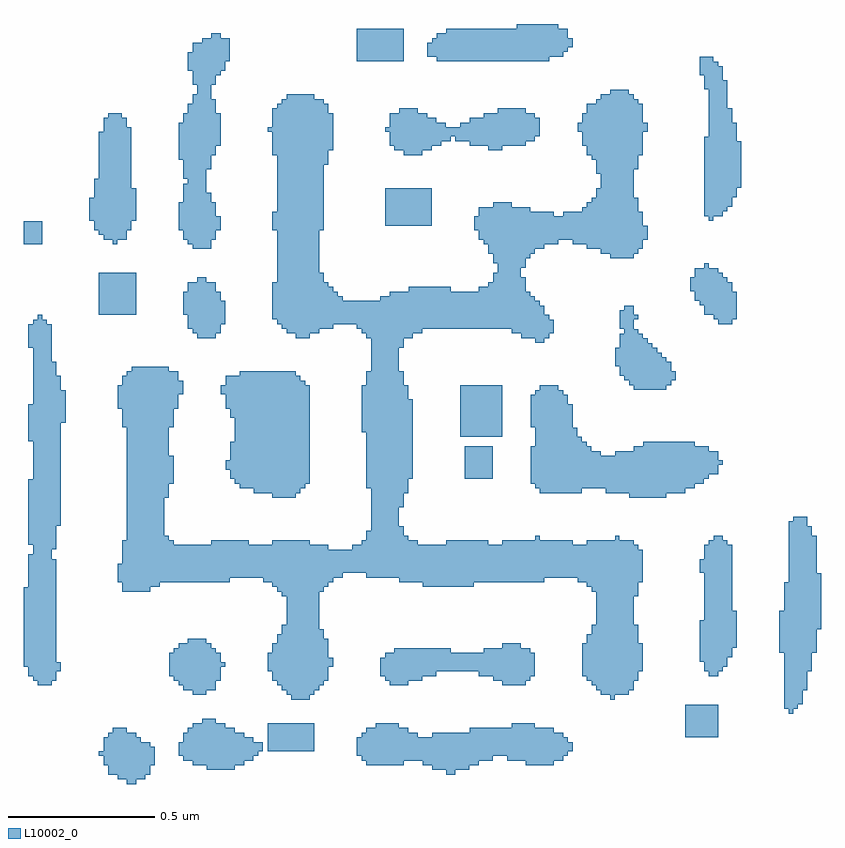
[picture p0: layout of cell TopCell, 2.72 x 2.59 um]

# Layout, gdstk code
import gdstk
lib = gdstk.Library(unit=1e-6, precision=1e-09)
def R(c, l, rs):  # rectangles x0, y0, x1, y1
    for r in rs: c.add(gdstk.rectangle(r[:2], r[2:], *l))
L10002_0 = (10002, 0)

topcell = lib.new_cell('TopCell')
R(topcell, L10002_0, [(1.088,0.736,1.119,0.752), (1.056,0.752,1.151,0.768), (1.024,0.768,1.167,0.8), (2.176,0.768,2.207,0.784), (1.36,0.784,1.455,0.8), (2.128,0.784,2.255,0.8), (1.008,0.8,1.183,0.832), (1.312,0.8,1.487,0.816), (1.904,0.8,2.031,0.816), (2.096,0.8,2.287,0.816), (2.448,0.8,2.543,0.816), (1.28,0.816,1.519,0.832), (1.888,0.816,2.335,0.832), (2.384,0.816,2.575,0.832), (0.992,0.832,1.183,0.847), (1.264,0.832,1.535,0.879), (1.872,0.832,2.591,0.895), (1.008,0.847,1.183,0.863), (1.535,0.848,1.551,0.879), (1.568,0.848,1.727,0.943), (2.591,0.848,2.607,0.879), (1.008,0.863,1.167,0.879), (1.008,0.879,1.135,0.895), (1.28,0.879,1.519,0.895), (1.024,0.895,1.119,0.911), (1.28,0.895,1.487,0.911), (1.888,0.895,2.079,0.911), (2.128,0.895,2.575,0.911), (2.992,0.896,3.103,1.007), (1.04,0.911,1.087,0.927), (1.296,0.911,1.455,0.927), (1.904,0.911,2.047,0.927), (2.256,0.911,2.543,0.927), (1.312,0.927,1.423,0.943), (1.936,0.927,2.015,0.943), (2.4,0.927,2.479,0.943), (1.344,0.943,1.391,0.959), (3.344,0.976,3.359,0.992), (3.328,0.992,3.375,1.184), (3.375,1.008,3.391,1.184), (1.648,1.024,1.711,1.04), (2.736,1.024,2.751,1.04), (1.312,1.04,1.359,1.056), (1.632,1.04,1.727,1.056), (2.704,1.04,2.799,1.056), (1.28,1.056,1.391,1.072), (1.616,1.056,1.743,1.072), (2.688,1.056,2.815,1.072), (3.391,1.056,3.407,1.184), (0.784,1.072,0.831,1.088), (1.264,1.072,1.391,1.088), (1.6,1.072,1.759,1.088), (1.984,1.072,2.047,1.088), (2.368,1.072,2.447,1.088), (2.672,1.072,2.815,1.088), (0.768,1.088,0.847,1.104), (1.248,1.088,1.407,1.104), (1.584,1.088,1.775,1.12), (1.968,1.088,2.095,1.104), (2.336,1.088,2.463,1.104), (2.656,1.088,2.831,1.104), (0.752,1.104,0.847,1.136), (1.232,1.104,1.407,1.183), (1.952,1.104,2.143,1.167), (2.288,1.104,2.479,1.12), (2.64,1.104,2.831,1.215), (3.072,1.104,3.103,1.12), (0.847,1.12,0.863,1.136), (1.568,1.12,1.775,1.183), (2.143,1.12,2.479,1.167), (2.831,1.12,2.847,1.215), (3.056,1.12,3.119,1.152), (3.407,1.12,3.423,1.184), (0.736,1.136,0.863,1.151), (1.407,1.136,1.423,1.151), (1.775,1.136,1.791,1.167), (3.119,1.136,3.135,1.152), (0.736,1.151,0.847,1.407), (3.04,1.152,3.135,1.295), (1.968,1.167,2.479,1.183), (3.135,1.168,3.151,1.295), (1.248,1.183,1.391,1.199), (1.584,1.183,1.775,1.215), (2,1.183,2.191,1.199), (2.304,1.183,2.463,1.199), (3.312,1.184,3.439,1.327), (1.264,1.199,1.375,1.215), (2.368,1.199,2.431,1.215), (3.151,1.2,3.167,1.295), (1.296,1.215,1.359,1.231), (1.6,1.215,1.775,1.231), (2.656,1.215,2.831,1.247), (1.6,1.231,1.759,1.247), (1.616,1.247,1.759,1.263), (2.672,1.247,2.831,1.279), (1.616,1.263,1.743,1.279), (3.439,1.264,3.455,1.327), (1.632,1.279,1.743,1.376), (2.688,1.279,2.815,1.392), (3.056,1.295,3.167,1.327), (3.056,1.327,3.151,1.456), (3.328,1.327,3.455,1.423), (1.616,1.376,1.743,1.392), (2.815,1.376,2.831,1.392), (1.072,1.392,1.167,1.424), (1.6,1.392,1.759,1.408), (2.672,1.392,2.831,1.408), (0.752,1.407,0.847,1.503), (1.167,1.408,1.199,1.424), (1.584,1.408,1.775,1.424), (2.096,1.408,2.271,1.424), (2.656,1.408,2.831,1.424), (3.344,1.423,3.455,1.455), (1.056,1.424,1.439,1.487), (1.552,1.424,1.791,1.44), (2.016,1.424,2.511,1.44), (2.624,1.424,2.847,1.44), (1.439,1.44,1.823,1.487), (1.904,1.44,2.847,1.456), (3.344,1.455,3.439,1.583), (1.823,1.456,2.847,1.487), (3.04,1.456,3.151,1.503), (1.072,1.487,2.847,1.535), (0.752,1.503,0.831,1.519), (3.056,1.503,3.151,1.551), (0.768,1.519,0.831,1.552), (1.072,1.535,1.775,1.551), (1.856,1.535,2.831,1.551), (0.831,1.536,0.847,1.552), (1.072,1.551,1.247,1.567), (1.376,1.551,1.503,1.567), (1.584,1.551,1.711,1.567), (1.888,1.551,2.079,1.567), (2.176,1.551,2.319,1.567), (2.368,1.551,2.607,1.567), (2.656,1.551,2.815,1.567), (3.072,1.551,3.135,1.567), (0.752,1.552,0.847,1.775), (1.088,1.567,1.231,1.583), (1.904,1.567,2.047,1.583), (2.48,1.567,2.495,1.583), (2.752,1.567,2.767,1.583), (3.088,1.567,3.119,1.583), (1.088,1.583,1.215,1.952), (1.904,1.583,2.031,1.599), (3.344,1.583,3.423,1.615), (1.92,1.599,2.031,1.615), (1.92,1.615,2.015,1.744), (3.344,1.615,3.407,1.631), (0.847,1.616,0.863,1.775), (3.36,1.631,3.407,1.647), (2.015,1.68,2.031,1.744), (1.215,1.712,1.231,1.952), (1.584,1.712,1.663,1.728), (2.8,1.712,2.927,1.728), (1.52,1.728,1.679,1.744), (2.031,1.728,2.047,1.744), (2.496,1.728,2.639,1.744), (2.72,1.728,2.991,1.744), (1.472,1.744,1.695,1.76), (1.904,1.744,2.047,1.936), (2.48,1.744,3.023,1.76), (1.231,1.76,1.247,1.855), (1.456,1.76,1.711,1.776), (2.464,1.76,3.055,1.855), (0.768,1.775,0.863,1.904), (1.44,1.776,1.711,1.808), (2.047,1.776,2.063,1.936), (2.24,1.776,2.335,1.887), (3.055,1.776,3.071,1.855), (3.071,1.792,3.103,1.855), (1.424,1.808,1.711,1.839), (3.103,1.824,3.119,1.839), (1.44,1.839,1.711,1.903), (2.464,1.855,2.703,1.871), (2.752,1.855,3.103,1.871), (2.464,1.871,2.671,1.887), (2.816,1.871,3.071,1.887), (2.48,1.887,2.655,1.903), (2.848,1.887,3.023,1.903), (1.456,1.903,1.711,1.984), (2.48,1.903,2.639,1.919), (0.752,1.904,0.863,2.031), (2.48,1.919,2.623,1.951), (2.224,1.92,2.367,2.095), (1.888,1.936,2.063,2.047), (2.48,1.951,2.607,1.952), (1.072,1.952,1.247,2.016), (2.464,1.952,2.607,2.031), (0.863,1.968,0.879,2.031), (1.44,1.984,1.711,2.016), (1.056,2.016,1.263,2.095), (1.424,2.016,1.711,2.064), (0.768,2.031,0.879,2.079), (2.464,2.031,2.591,2.063), (1.888,2.047,2.047,2.095), (2.48,2.063,2.575,2.079), (1.263,2.064,1.279,2.095), (1.408,2.064,1.711,2.095), (0.768,2.079,0.863,2.127), (2.496,2.079,2.559,2.095), (2.816,2.08,2.927,2.096), (1.072,2.095,1.279,2.111), (1.424,2.095,1.695,2.111), (1.904,2.095,2.031,2.143), (2.8,2.096,2.943,2.112), (1.072,2.111,1.263,2.127), (1.424,2.111,1.679,2.127), (2.784,2.112,2.959,2.128), (0.768,2.127,0.847,2.175), (1.088,2.127,1.263,2.143), (1.472,2.127,1.663,2.143), (2.768,2.128,2.959,2.143), (1.104,2.143,1.231,2.159), (1.92,2.143,2.015,2.256), (2.768,2.143,2.943,2.16), (2.752,2.16,2.943,2.175), (0.768,2.175,0.831,2.224), (2.752,2.175,2.927,2.191), (2.752,2.191,2.911,2.207), (2.752,2.207,2.895,2.223), (2.768,2.223,2.879,2.239), (0.752,2.224,0.831,2.303), (2.015,2.224,2.031,2.256), (2.768,2.239,2.863,2.255), (2.48,2.24,2.511,2.256), (2.768,2.255,2.847,2.271), (1.328,2.256,1.391,2.272), (1.664,2.256,1.711,2.272), (1.904,2.256,2.063,2.272), (2.432,2.256,2.527,2.272), (2.784,2.271,2.831,2.287), (1.312,2.272,1.407,2.288), (1.632,2.272,1.743,2.288), (1.888,2.272,2.095,2.288), (2.4,2.272,2.543,2.288), (2.784,2.287,2.815,2.288), (1.296,2.288,1.407,2.336), (1.616,2.288,1.791,2.304), (1.872,2.288,2.543,2.304), (2.768,2.288,2.815,2.351), (0.768,2.303,0.815,2.319), (1.407,2.304,1.423,2.336), (1.6,2.304,2.543,2.319), (3.104,2.304,3.151,2.32), (0.784,2.319,0.799,2.335), (1.6,2.319,2.527,2.32), (1.584,2.32,2.527,2.335), (2.815,2.32,2.831,2.335), (3.088,2.32,3.167,2.336), (1.584,2.335,2.511,2.367), (0.992,2.336,1.119,2.479), (1.28,2.336,1.423,2.383), (3.056,2.336,3.167,2.368), (2.784,2.351,2.815,2.367), (1.584,2.367,2.495,2.383), (3.04,2.368,3.167,2.384), (1.28,2.383,1.407,2.415), (1.584,2.383,1.823,2.399), (1.952,2.383,2.479,2.399), (3.024,2.384,3.167,2.415), (1.584,2.399,1.807,2.415), (1.984,2.399,2.463,2.415), (1.296,2.415,1.391,2.447), (1.584,2.415,1.791,2.431), (2.048,2.415,2.191,2.431), (2.288,2.415,2.447,2.431), (3.024,2.415,3.151,2.416), (3.008,2.416,3.151,2.447), (1.584,2.431,1.775,2.447), (2.32,2.431,2.447,2.447), (1.328,2.447,1.359,2.463), (1.6,2.447,1.759,2.479), (2.336,2.447,2.447,2.463), (3.008,2.447,3.135,2.463), (2.336,2.463,2.431,2.479), (3.024,2.463,3.119,2.479), (1.6,2.479,1.743,2.624), (2.352,2.479,2.431,2.512), (3.024,2.479,3.103,2.495), (3.056,2.495,3.071,2.511), (2.431,2.496,2.447,2.512), (2.336,2.512,2.447,2.544), (2.447,2.528,2.463,2.544), (2.736,2.528,2.815,2.544), (2.32,2.544,2.479,2.576), (2.704,2.544,2.831,2.56), (1.312,2.56,1.375,2.576), (2.479,2.56,2.511,2.576), (2.656,2.56,2.847,2.576), (0.736,2.576,0.799,2.655), (1.04,2.576,1.055,2.592), (1.296,2.576,1.375,2.592), (2.304,2.576,2.559,2.592), (2.608,2.576,2.847,2.592), (1.008,2.592,1.087,2.608), (1.28,2.592,1.391,2.624), (2.288,2.592,2.863,2.624), (0.992,2.608,1.087,2.624), (0.976,2.624,1.103,2.656), (1.264,2.624,1.407,2.671), (1.584,2.624,1.759,2.687), (2.272,2.624,2.863,2.639), (2.272,2.639,2.847,2.671), (1.968,2.64,2.127,2.767), (0.96,2.656,1.119,2.735), (3.072,2.656,3.087,2.672), (1.264,2.671,1.391,2.719), (2.288,2.671,2.543,2.687), (2.576,2.671,2.847,2.687), (3.056,2.672,3.119,2.943), (1.6,2.687,1.759,2.88), (2.288,2.687,2.463,2.703), (2.64,2.687,2.831,2.703), (3.119,2.688,3.135,2.943), (2.336,2.703,2.399,2.719), (2.656,2.703,2.831,2.719), (3.135,2.704,3.151,2.943), (1.28,2.719,1.375,2.751), (2.672,2.719,2.831,2.735), (0.976,2.735,1.119,2.767), (2.688,2.735,2.815,2.767), (3.151,2.736,3.167,2.943), (1.28,2.751,1.359,2.783), (0.976,2.767,1.103,2.799), (2.704,2.767,2.815,2.816), (3.167,2.768,3.183,2.927), (1.296,2.783,1.359,2.8), (0.992,2.799,1.103,2.959), (1.28,2.8,1.359,2.864), (2.688,2.816,2.815,2.864), (1.359,2.832,1.375,2.864), (2.815,2.832,2.831,2.864), (1.759,2.848,1.775,2.88), (1.264,2.864,1.375,2.991), (2.672,2.864,2.831,2.88), (1.375,2.88,1.391,2.991), (1.584,2.88,1.775,2.96), (2.032,2.88,2.095,2.896), (2.656,2.88,2.847,2.912), (1.775,2.896,1.791,2.96), (2,2.896,2.127,2.912), (2.32,2.896,2.367,2.912), (1.391,2.912,1.407,2.991), (1.984,2.912,2.159,2.96), (2.256,2.912,2.447,2.928), (2.64,2.912,2.847,2.96), (2.159,2.928,2.191,2.96), (2.208,2.928,2.479,2.944), (3.072,2.943,3.167,2.991), (2.191,2.944,2.495,2.96), (1.008,2.959,1.103,2.975), (1.568,2.96,1.791,2.975), (1.968,2.96,2.495,2.975), (2.624,2.96,2.863,2.991), (1.008,2.975,1.087,3.007), (1.584,2.975,1.791,3.023), (1.984,2.975,2.175,2.991), (2.224,2.975,2.495,2.991), (1.28,2.991,1.407,3.023), (1.984,2.991,2.143,3.007), (2.256,2.991,2.495,3.007), (2.64,2.991,2.847,3.023), (3.072,2.991,3.151,3.039), (1.024,3.007,1.071,3.023), (1.984,3.007,2.111,3.023), (2.304,3.007,2.479,3.023), (1.296,3.023,1.391,3.055), (1.584,3.023,1.775,3.039), (2.016,3.023,2.079,3.039), (2.352,3.023,2.447,3.039), (2.656,3.023,2.847,3.055), (1.6,3.039,1.775,3.055), (3.072,3.039,3.135,3.104), (1.312,3.055,1.391,3.071), (1.616,3.055,1.759,3.071), (2.688,3.055,2.831,3.071), (1.312,3.071,1.375,3.087), (1.632,3.071,1.727,3.087), (2.704,3.071,2.815,3.087), (1.328,3.087,1.375,3.12), (2.736,3.087,2.799,3.103), (3.056,3.104,3.135,3.135), (1.312,3.12,1.391,3.168), (3.056,3.135,3.119,3.152), (1.391,3.152,1.407,3.168), (3.04,3.152,3.119,3.183), (1.296,3.168,1.423,3.231), (3.04,3.183,3.103,3.199), (3.04,3.199,3.087,3.215), (1.423,3.2,1.439,3.231), (1.872,3.2,2.031,3.311), (2.144,3.2,2.527,3.216), (2.112,3.216,2.575,3.263), (1.312,3.231,1.439,3.263), (2.575,3.232,2.591,3.263), (2.591,3.248,2.607,3.263), (1.344,3.263,1.439,3.279), (2.128,3.263,2.607,3.279), (1.376,3.279,1.407,3.295), (2.144,3.279,2.591,3.295), (2.176,3.295,2.591,3.311), (2.416,3.311,2.559,3.327)])

lib.write_gds('TopCell.gds')
